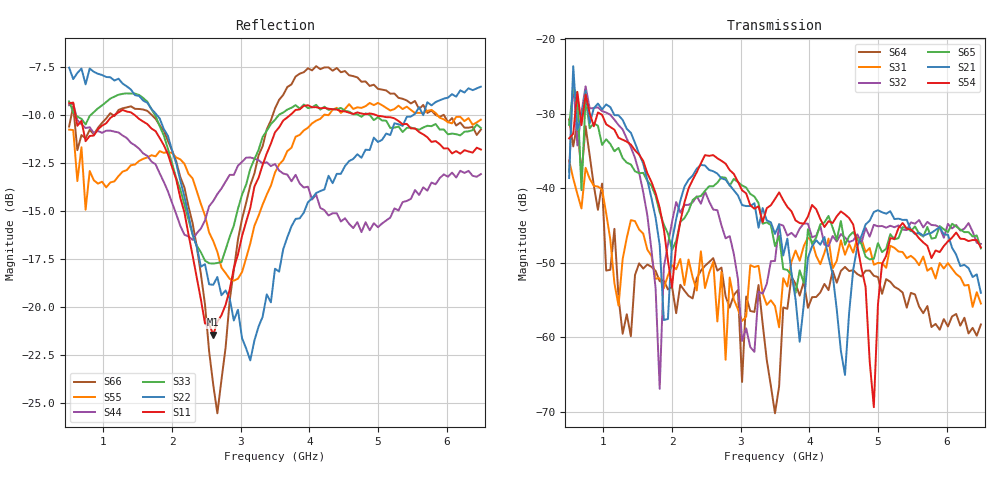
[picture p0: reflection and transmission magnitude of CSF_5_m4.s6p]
!Keysight Technologies,M9804A,MY58100912,A.14.10.03
!Date: Thursday, April 27, 2023 10:28:33
!Correction: S11(C  6-Port  )
!S12(C  6-Port  )
!S13(C  6-Port  )
!S14(C  6-Port  )
!S15(C  6-Port  )
!S16(C  6-Port  )
!S21(C  6-Port  )
!S22(C  6-Port  )
!S23(C  6-Port  )
!S24(C  6-Port  )
!S25(C  6-Port  )
!S26(C  6-Port  )
!S31(C  6-Port  )
!S32(C  6-Port  )
!S33(C  6-Port  )
!S34(C  6-Port  )
!S35(C  6-Port  )
!S36(C  6-Port  )
!S41(C  6-Port  )
!S42(C  6-Port  )
!S43(C  6-Port  )
!S44(C  6-Port  )
!S45(C  6-Port  )
!S46(C  6-Port  )
!S51(C  6-Port  )
!S52(C  6-Port  )
!S53(C  6-Port  )
!S54(C  6-Port  )
!S55(C  6-Port  )
!S56(C  6-Port  )
!S61(C  6-Port  )
!S62(C  6-Port  )
!S63(C  6-Port  )
!S64(C  6-Port  )
!S65(C  6-Port  )
!S66(C  6-Port  )
!S6P File: Measurement: :
# Hz S  RI  R 50
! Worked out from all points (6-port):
!   101 points, 500 MHz to 6.5 GHz, reference 50 ohm
!   strongest paths, dB at 500 MHz, 2 GHz, 3.5 GHz, 5 GHz, 6.5 GHz:
!     S54: -33.3, -53.3, -41.4, -55.6, -47.9
!     S21: -38.6, -47.1, -46.1, -43.0, -54.0
!     S65: -31.5, -48.3, -47.8, -47.4, -48.1
!     S32: -37.8, -44.5, -49.8, -45.1, -47.5
!     S31: -36.3, -50.3, -55.8, -50.0, -55.5
!     S64: -30.8, -53.2, -70.2, -51.9, -58.3
!   lowest |S11| = -21.4 dB at 2.6 GHz (marker M1), VSWR 1.19, Z = 42.5 + j2.27 ohm
!   |S11| at or under -10 dB: 593.3 MHz to 1.152 GHz (558.3 MHz wide, 64 % of centre); 1.463 GHz to 3.714 GHz (2.25 GHz wide, 86.9 % of centre); 4.986 GHz to end of sweep
